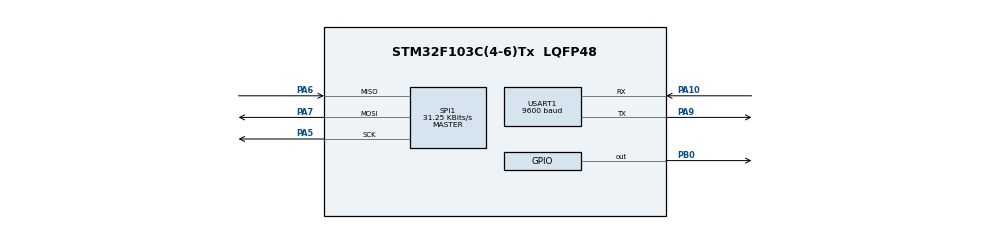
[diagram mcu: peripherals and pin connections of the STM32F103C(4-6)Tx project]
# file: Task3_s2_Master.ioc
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Mcu.Family=STM32F1
Mcu.Name=STM32F103C(4-6)Tx
Mcu.Package=LQFP48
NVIC.PriorityGroup=NVIC_PRIORITYGROUP_4
PA10.Mode=Asynchronous
PA10.Signal=USART1_RX
PA5.Mode=Full_Duplex_Master
PA5.Signal=SPI1_SCK
PA6.Mode=Full_Duplex_Master
PA6.Signal=SPI1_MISO
PA7.Mode=Full_Duplex_Master
PA7.Signal=SPI1_MOSI
PA9.Mode=Asynchronous
PA9.Signal=USART1_TX
PB0.Signal=GPIO_Output
PD0-OSC_IN.Mode=HSE-External-Oscillator
PD0-OSC_IN.Signal=RCC_OSC_IN
PD1-OSC_OUT.Mode=HSE-External-Oscillator
PD1-OSC_OUT.Signal=RCC_OSC_OUT
ProjectManager.HeapSize=0x200
ProjectManager.StackSize=0x400
ProjectManager.TargetToolchain=STM32CubeIDE
RCC.APB1Freq_Value=8000000
RCC.APB2Freq_Value=8000000
SPI1.BaudRatePrescaler=SPI_BAUDRATEPRESCALER_256
SPI1.CalculateBaudRate=31.25 KBits/s
SPI1.DataSize=SPI_DATASIZE_8BIT
SPI1.Direction=SPI_DIRECTION_2LINES
SPI1.Mode=SPI_MODE_MASTER
SPI1.VirtualType=VM_MASTER
USART1.BaudRate=9600
USART1.VirtualMode=VM_ASYNC
VP_SYS_VS_ND.Mode=No_Debug
board=custom

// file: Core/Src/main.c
/* USER CODE BEGIN Header */
/**
 ******************************************************************************
 * @file           : main.c
 * @brief          : Main program body
 ******************************************************************************
 * @attention
 *
 * Copyright (c) 2025 STMicroelectronics.
 * All rights reserved.
 *
 * This software is licensed under terms that can be found in the LICENSE file
 * in the root directory of this software component.
 * If no LICENSE file comes with this software, it is provided AS-IS.
 *
 ******************************************************************************
 */
/* USER CODE END Header */
#include "main.h"

SPI_HandleTypeDef hspi1;

UART_HandleTypeDef huart1;

void SystemClock_Config(void);
static void MX_GPIO_Init(void);
static void MX_SPI1_Init(void);
static void MX_USART1_UART_Init(void);

/* USER CODE BEGIN 0 */
int __io_putchar(int ch) //makes printf work with uart
{
	HAL_UART_Transmit(&huart1, (uint8_t*) &ch, 1, HAL_MAX_DELAY);
	return ch;
}

#define PUTCHAR_PROTOTYPE int __io_putchar(int ch)
/* USER CODE END 0 */

int main(void) {

	/* MCU Configuration--------------------------------------------------------*/

	/* Reset of all peripherals, Initializes the Flash interface and the Systick. */
	HAL_Init();

	/* Configure the system clock */
	SystemClock_Config();

	/* Initialize all configured peripherals */
	MX_GPIO_Init();
	MX_SPI1_Init();
	MX_USART1_UART_Init();
	/* USER CODE BEGIN 2 */
	uint64_t txData = 0;
	uint64_t rxData = 0;
	uint8_t selection = 1;
	uint16_t bat_volt = 0;
	uint16_t speed = 0;
	uint32_t dummy=0xffffffff;
	printf("System Start\r\n");
	HAL_Delay(50);
	/* USER CODE END 2 */

	/* Infinite loop */
	while (1) {

		/* USER CODE BEGIN 3 */
		HAL_UART_Receive(&huart1, &selection, 1, HAL_MAX_DELAY);
		if (selection >= '0') {
			selection -= '0'; //converte selection from ascii to normal digits
		}

		if (selection > 0 && selection <= 5) {
			txData = selection | 0x1000;

			//transmit the current ID
			HAL_GPIO_WritePin(GPIOB, GPIO_PIN_0, GPIO_PIN_RESET);
			HAL_SPI_TransmitReceive(&hspi1, (uint8_t*) &txData, (uint8_t*) &rxData,sizeof(txData), HAL_MAX_DELAY);
			HAL_GPIO_WritePin(GPIOB, GPIO_PIN_0, GPIO_PIN_SET);

			HAL_Delay(10);
			//transmit any data to refresh the received data
			HAL_GPIO_WritePin(GPIOB, GPIO_PIN_0, GPIO_PIN_RESET);
			HAL_SPI_TransmitReceive(&hspi1, (uint8_t*) &dummy, (uint8_t*) &rxData,sizeof(txData), HAL_MAX_DELAY);
			HAL_GPIO_WritePin(GPIOB, GPIO_PIN_0, GPIO_PIN_SET);
		}

		speed =((0x0fff) & (rxData >> 16)); //0x0fff are 12 bits mask
		bat_volt =((0x0fff) & (rxData >> 28));

		printf("Speed= %ld", speed);
		printf(" Volt= %ld.%ld", bat_volt / 10, bat_volt % 10);
		printf("\r\n");

	}

	/* USER CODE END 3 */
}

void SystemClock_Config(void) {
	RCC_OscInitTypeDef RCC_OscInitStruct = { 0 };
	RCC_ClkInitTypeDef RCC_ClkInitStruct = { 0 };

	/** Initializes the RCC Oscillators according to the specified parameters
	 * in the RCC_OscInitTypeDef structure.
	 */
	RCC_OscInitStruct.OscillatorType = RCC_OSCILLATORTYPE_HSI;
	RCC_OscInitStruct.HSIState = RCC_HSI_ON;
	RCC_OscInitStruct.HSICalibrationValue = RCC_HSICALIBRATION_DEFAULT;
	RCC_OscInitStruct.PLL.PLLState = RCC_PLL_NONE;
	if (HAL_RCC_OscConfig(&RCC_OscInitStruct) != HAL_OK) {
		Error_Handler();
	}

	/** Initializes the CPU, AHB and APB buses clocks
	 */
	RCC_ClkInitStruct.ClockType = RCC_CLOCKTYPE_HCLK | RCC_CLOCKTYPE_SYSCLK
			| RCC_CLOCKTYPE_PCLK1 | RCC_CLOCKTYPE_PCLK2;
	RCC_ClkInitStruct.SYSCLKSource = RCC_SYSCLKSOURCE_HSI;
	RCC_ClkInitStruct.AHBCLKDivider = RCC_SYSCLK_DIV1;
	RCC_ClkInitStruct.APB1CLKDivider = RCC_HCLK_DIV1;
	RCC_ClkInitStruct.APB2CLKDivider = RCC_HCLK_DIV1;

	if (HAL_RCC_ClockConfig(&RCC_ClkInitStruct, FLASH_LATENCY_0) != HAL_OK) {
		Error_Handler();
	}
}

static void MX_SPI1_Init(void) {

	/* SPI1 parameter configuration*/
	hspi1.Instance = SPI1;
	hspi1.Init.Mode = SPI_MODE_MASTER;
	hspi1.Init.Direction = SPI_DIRECTION_2LINES;
	hspi1.Init.DataSize = SPI_DATASIZE_8BIT;
	hspi1.Init.CLKPolarity = SPI_POLARITY_LOW;
	hspi1.Init.CLKPhase = SPI_PHASE_1EDGE;
	hspi1.Init.NSS = SPI_NSS_SOFT;
	hspi1.Init.BaudRatePrescaler = SPI_BAUDRATEPRESCALER_256;
	hspi1.Init.FirstBit = SPI_FIRSTBIT_MSB;
	hspi1.Init.TIMode = SPI_TIMODE_DISABLE;
	hspi1.Init.CRCCalculation = SPI_CRCCALCULATION_DISABLE;
	hspi1.Init.CRCPolynomial = 10;
	if (HAL_SPI_Init(&hspi1) != HAL_OK) {
		Error_Handler();
	}

}

static void MX_USART1_UART_Init(void) {

	huart1.Instance = USART1;
	huart1.Init.BaudRate = 9600;
	huart1.Init.WordLength = UART_WORDLENGTH_8B;
	huart1.Init.StopBits = UART_STOPBITS_1;
	huart1.Init.Parity = UART_PARITY_NONE;
	huart1.Init.Mode = UART_MODE_TX_RX;
	huart1.Init.HwFlowCtl = UART_HWCONTROL_NONE;
	huart1.Init.OverSampling = UART_OVERSAMPLING_16;
	if (HAL_UART_Init(&huart1) != HAL_OK) {
		Error_Handler();
	}

}

static void MX_GPIO_Init(void) {
	GPIO_InitTypeDef GPIO_InitStruct = { 0 };

	/* GPIO Ports Clock Enable */
	__HAL_RCC_GPIOD_CLK_ENABLE();
	__HAL_RCC_GPIOA_CLK_ENABLE();
	__HAL_RCC_GPIOB_CLK_ENABLE();

	/*Configure GPIO pin Output Level */
	HAL_GPIO_WritePin(GPIOB, GPIO_PIN_0, GPIO_PIN_RESET);

	/*Configure GPIO pin : PB0 */
	GPIO_InitStruct.Pin = GPIO_PIN_0;
	GPIO_InitStruct.Mode = GPIO_MODE_OUTPUT_PP;
	GPIO_InitStruct.Pull = GPIO_NOPULL;
	GPIO_InitStruct.Speed = GPIO_SPEED_FREQ_LOW;
	HAL_GPIO_Init(GPIOB, &GPIO_InitStruct);

}

void Error_Handler(void) {
	__disable_irq();
	while (1) {
	}
}
